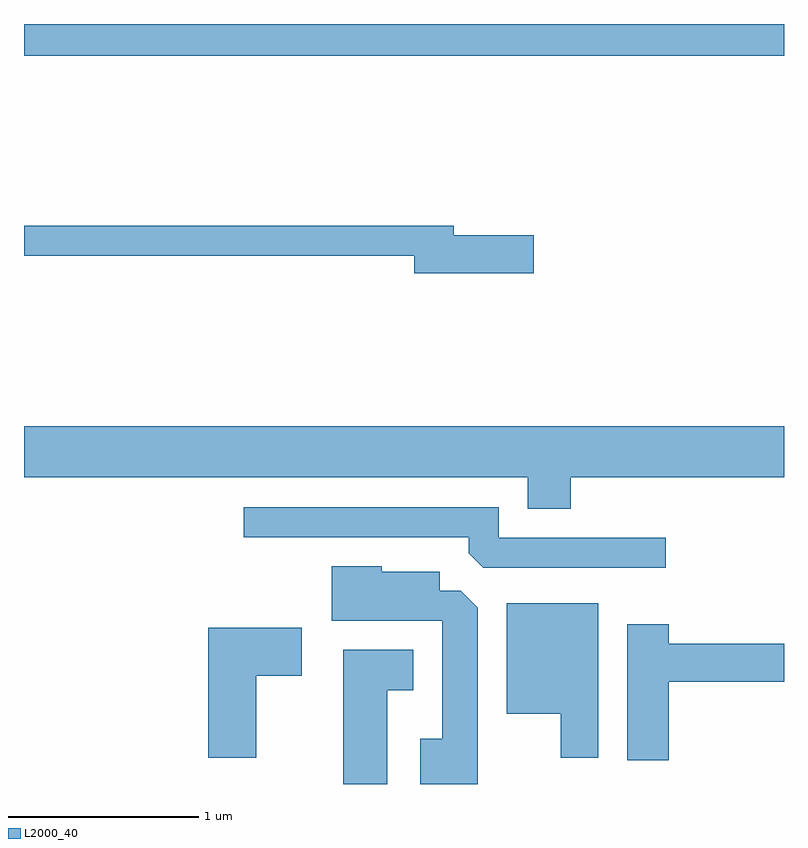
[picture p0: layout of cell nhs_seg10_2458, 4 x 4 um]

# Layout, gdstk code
import gdstk
lib = gdstk.Library(unit=1e-6, precision=1e-09)
def R(c, l, rs):  # rectangles x0, y0, x1, y1
    for r in rs: c.add(gdstk.rectangle(r[:2], r[2:], *l))
def P(c, l, *ps):  # polygons
    for p in ps: c.add(gdstk.Polygon(p, *l))
L2000_40 = (2000, 40)

nhs_seg10_2458 = lib.new_cell('nhs_seg10_2458')
R(nhs_seg10_2458, L2000_40, [(257.611,2118.356,261.611,2118.522)])
P(nhs_seg10_2458, L2000_40, [(260.294,2117.409),(259.874,2117.409),(259.874,2117.459),(257.611,2117.459),(257.611,2117.301),(259.666,2117.301),(259.666,2117.211),(260.294,2117.211)],
  [(260.489,2116.136),(261.611,2116.136),(261.611,2116.404),(257.611,2116.404),(257.611,2116.136),(260.261,2116.136),(260.261,2115.971),(260.489,2115.971)],
  [(260.988,2115.819),(260.109,2115.819),(260.109,2115.979),(258.767,2115.979),(258.767,2115.821),(259.951,2115.821),(259.951,2115.737),(260.027,2115.661),(260.988,2115.661)],
  [(259.999,2115.449),(259.909,2115.539),(259.799,2115.539),(259.799,2115.639),(259.494,2115.639),(259.494,2115.669),(259.231,2115.669),(259.231,2115.381),(259.811,2115.381),(259.811,2114.759),(259.696,2114.759),(259.696,2114.522),(259.999,2114.522)],
  [(260.634,2115.474),(260.151,2115.474),(260.151,2114.891),(260.436,2114.891),(260.436,2114.661),(260.634,2114.661)],
  [(261.004,2115.061),(261.611,2115.061),(261.611,2115.259),(261.004,2115.259),(261.004,2115.364),(260.786,2115.364),(260.786,2114.646),(261.004,2114.646)],
  [(258.834,2115.091),(259.074,2115.091),(259.074,2115.344),(258.581,2115.344),(258.581,2114.661),(258.834,2114.661)],
  [(259.524,2115.016),(259.659,2115.016),(259.659,2115.229),(259.291,2115.229),(259.291,2114.522),(259.524,2114.522)])

lib.write_gds('nhs_seg10_2458.gds')
